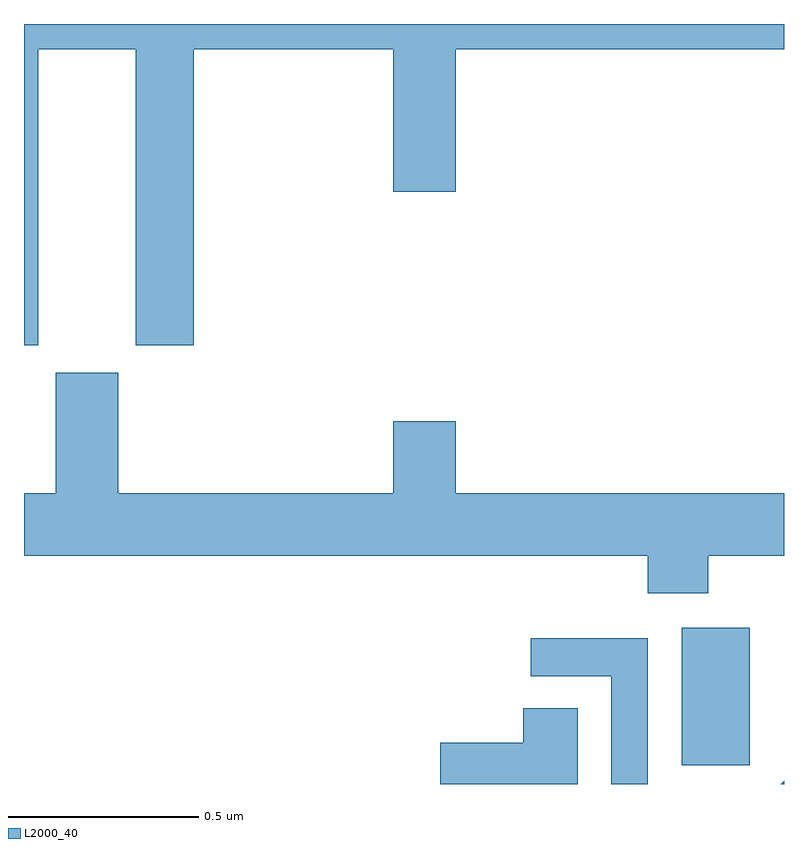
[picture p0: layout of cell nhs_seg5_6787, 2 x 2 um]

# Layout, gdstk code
import gdstk
lib = gdstk.Library(unit=1e-6, precision=1e-09)
def R(c, l, rs):  # rectangles x0, y0, x1, y1
    for r in rs: c.add(gdstk.rectangle(r[:2], r[2:], *l))
def P(c, l, *ps):  # polygons
    for p in ps: c.add(gdstk.Polygon(p, *l))
L2000_40 = (2000, 40)

nhs_seg5_6787 = lib.new_cell('nhs_seg5_6787')
R(nhs_seg5_6787, L2000_40, [(201.731,882.849,201.91,883.21)])
P(nhs_seg5_6787, L2000_40, [(200.038,884.732),(200.294,884.732),(200.294,883.953),(200.447,883.953),(200.447,884.732),(200.972,884.732),(200.972,884.358),(201.136,884.358),(201.136,884.732),(202,884.732),(202,884.799),(200,884.799),(200,883.953),(200.038,883.953)],
  [(201.801,883.4),(202,883.4),(202,883.564),(201.136,883.564),(201.136,883.753),(200.972,883.753),(200.972,883.564),(200.248,883.564),(200.248,883.881),(200.084,883.881),(200.084,883.564),(200,883.564),(200,883.4),(201.641,883.4),(201.641,883.301),(201.801,883.301)],
  [(201.642,883.182),(201.333,883.182),(201.333,883.083),(201.546,883.083),(201.546,882.799),(201.642,882.799)],
  [(201.457,882.998),(201.314,882.998),(201.314,882.908),(201.096,882.908),(201.096,882.799),(201.457,882.799)],
  [(202,882.808),(201.991,882.799),(202,882.799)])

lib.write_gds('nhs_seg5_6787.gds')
